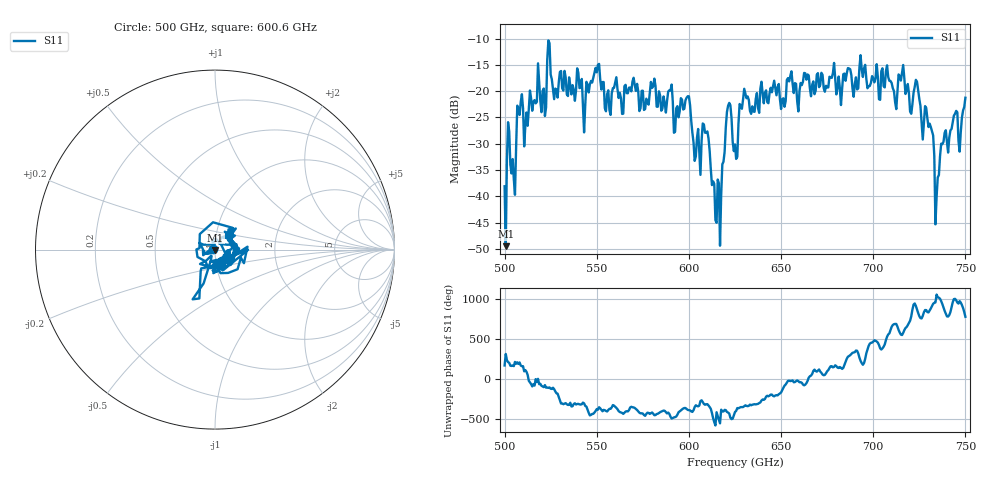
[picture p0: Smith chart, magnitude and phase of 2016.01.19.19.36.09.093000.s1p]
!Created with skrf (http://scikit-rf.org).
# GHz S RI R 50.0
!freq ReS11 ImS11
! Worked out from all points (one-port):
!   401 points, 500 GHz to 750 GHz, reference 50 ohm
!   lowest |S11| = -49.5 dB at 500.6 GHz (marker M1), VSWR 1.01, Z = 50.2 - j0.26 ohm
!   |S11| at or under -10 dB: start of sweep to end of sweep
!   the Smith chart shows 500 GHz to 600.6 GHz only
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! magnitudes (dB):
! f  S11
! 500 GHz  -38.1
! 500.6 GHz  -49.5
! 502.5 GHz  -27.7
! 505 GHz  -36.8
! 508.1 GHz  -24.5
! 521.2 GHz  -19.5
! 524.4 GHz  -10.9
! 527.5 GHz  -19.5
! 531.2 GHz  -19.4
! 543.8 GHz  -22.7
! 550 GHz  -16.4
! 562.5 GHz  -20.3
! 580.6 GHz  -19.1
! 593.8 GHz  -22.8
! 599.4 GHz  -21.0
! 605 GHz  -27.2
! 608.8 GHz  -27.9
! 615.6 GHz  -36.8
! 621.2 GHz  -22.8
! 625 GHz  -30.1
! 630.6 GHz  -20.5
! 656.2 GHz  -18.6
! 687.5 GHz  -15.8
! 718.8 GHz  -18.6
! 729.4 GHz  -25.2
! 734.4 GHz  -40.1
! 738.1 GHz  -29.6
! 750 GHz  -21.2
